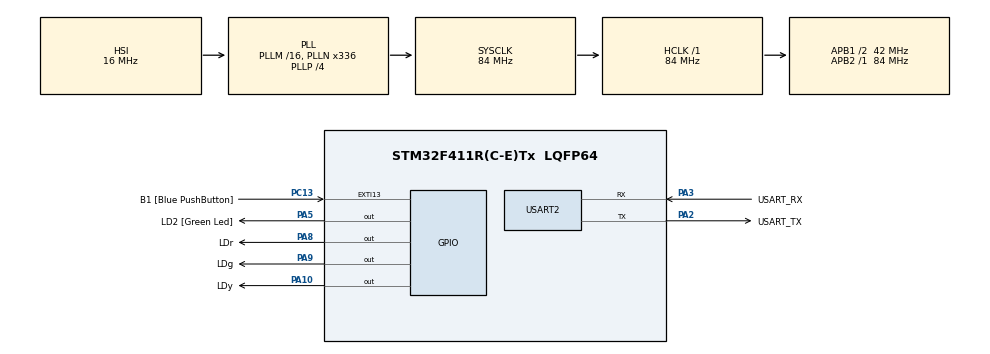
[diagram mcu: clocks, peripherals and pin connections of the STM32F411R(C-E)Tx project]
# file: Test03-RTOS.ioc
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FREERTOS.BinarySemaphores01=myBinarySem01,Dynamic,NULL
FREERTOS.Tasks01=myTask01,-1,128,StartTask01,Default,NULL,Dynamic,NULL,NULL;myTask02,-2,128,StartTask02,Default,NULL,Dynamic,NULL,NULL;myTask03,-3,128,StartTask03,Default,NULL,Dynamic,NULL,NULL
FREERTOS.configUSE_NEWLIB_REENTRANT=1
Mcu.Family=STM32F4
Mcu.Name=STM32F411R(C-E)Tx
Mcu.Package=LQFP64
NVIC.EXTI15_10_IRQn=true\:5\:0\:false\:false\:true\:true\:true\:true\:true
NVIC.PriorityGroup=NVIC_PRIORITYGROUP_4
NVIC.TIM1_TRG_COM_TIM11_IRQn=true\:15\:0\:false\:false\:true\:false\:false\:true\:true
NVIC.TimeBase=TIM1_TRG_COM_TIM11_IRQn
NVIC.TimeBaseIP=TIM11
PA10.GPIO_Label=LDy
PA10.Signal=GPIO_Output
PA13.GPIO_Label=TMS
PA13.Mode=Serial_Wire
PA13.Signal=SYS_JTMS-SWDIO
PA14.GPIO_Label=TCK
PA14.Mode=Serial_Wire
PA14.Signal=SYS_JTCK-SWCLK
PA2.GPIO_Label=USART_TX
PA2.Mode=Asynchronous
PA2.Signal=USART2_TX
PA3.GPIO_Label=USART_RX
PA3.Mode=Asynchronous
PA3.Signal=USART2_RX
PA5.GPIO_Label=LD2 [Green Led]
PA5.Signal=GPIO_Output
PA8.GPIO_Label=LDr
PA8.Signal=GPIO_Output
PA9.GPIO_Label=LDg
PA9.Signal=GPIO_Output
PB3.GPIO_Label=SWO
PB3.Signal=SYS_JTDO-SWO
PC13-ANTI_TAMP.GPIO_Label=B1 [Blue PushButton]
PC13-ANTI_TAMP.GPIO_ModeDefaultEXTI=GPIO_MODE_IT_FALLING
PC13-ANTI_TAMP.Signal=GPXTI13
PC14-OSC32_IN.Mode=LSE-External-Oscillator
PC14-OSC32_IN.Signal=RCC_OSC32_IN
PC15-OSC32_OUT.Mode=LSE-External-Oscillator
PC15-OSC32_OUT.Signal=RCC_OSC32_OUT
PH0\ -\ OSC_IN.Mode=HSE-External-Clock-Source
PH0\ -\ OSC_IN.Signal=RCC_OSC_IN
PH1\ -\ OSC_OUT.Mode=HSE-External-Clock-Source
PH1\ -\ OSC_OUT.Signal=RCC_OSC_OUT
ProjectManager.HeapSize=0x200
ProjectManager.StackSize=0x400
ProjectManager.TargetToolchain=STM32CubeIDE
RCC.48MHZClocksFreq_Value=84000000
RCC.AHBFreq_Value=84000000
RCC.APB1CLKDivider=RCC_HCLK_DIV2
RCC.APB1Freq_Value=42000000
RCC.APB1TimFreq_Value=84000000
RCC.APB2Freq_Value=84000000
RCC.APB2TimFreq_Value=84000000
RCC.CortexFreq_Value=84000000
RCC.FLatency-AdvancedSettings=FLASH_LATENCY_2
RCC.HCLKFreq_Value=84000000
RCC.HSE_VALUE=8000000
RCC.HSI_VALUE=16000000
RCC.PLLN=336
RCC.PLLP=RCC_PLLP_DIV4
RCC.SYSCLKFreq_VALUE=84000000
RCC.SYSCLKSource=RCC_SYSCLKSOURCE_PLLCLK
RCC.VCOOutputFreq_Value=336000000
USART2.VirtualMode=VM_ASYNC
VP_FREERTOS_VS_CMSIS_V1.Mode=CMSIS_V1
VP_SYS_VS_tim11.Mode=TIM11
board=NUCLEO-F411RE

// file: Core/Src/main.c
/* USER CODE BEGIN Header */
/**
  ******************************************************************************
  * @file           : main.c
  * @brief          : Main program body
  ******************************************************************************
  * @attention
  *
  * Copyright (c) 2023 STMicroelectronics.
  * All rights reserved.
  *
  * This software is licensed under terms that can be found in the LICENSE file
  * in the root directory of this software component.
  * If no LICENSE file comes with this software, it is provided AS-IS.
  *
  ******************************************************************************
  */
/* USER CODE END Header */
#include "main.h"
#include "cmsis_os.h"

UART_HandleTypeDef huart2;

osThreadId myTask01Handle;
osThreadId myTask02Handle;
osThreadId myTask03Handle;
osSemaphoreId myBinarySem01Handle;
/* USER CODE BEGIN PV */
#include "../../../myLib/myLib.c"
/* USER CODE END PV */

void SystemClock_Config(void);
static void MX_GPIO_Init(void);
static void MX_USART2_UART_Init(void);
void StartTask01(void const * argument);
void StartTask02(void const * argument);
void StartTask03(void const * argument);

/* USER CODE BEGIN 0 */
void HAL_GPIO_EXTI_Callback(uint16_t GPIO_Pin)
{
	if(GPIO_Pin == B1_Pin) osSemaphoreRelease(myBinarySem01Handle);
}
/* USER CODE END 0 */

int main(void)
{

  /* MCU Configuration--------------------------------------------------------*/

  /* Reset of all peripherals, Initializes the Flash interface and the Systick. */
  HAL_Init();

  /* Configure the system clock */
  SystemClock_Config();

  /* Initialize all configured peripherals */
  MX_GPIO_Init();
  MX_USART2_UART_Init();
  /* USER CODE BEGIN 2 */
  printf("\033[1J\033[1;1HRTOS Test Program Started...\r\n");
  printf("Press B1 button to release Semaphore...\r\n");
  /* USER CODE END 2 */

  /* Create the semaphores(s) */
  /* definition and creation of myBinarySem01 */
  osSemaphoreDef(myBinarySem01);
  myBinarySem01Handle = osSemaphoreCreate(osSemaphore(myBinarySem01), 1);

  /* Create the thread(s) */
  /* definition and creation of myTask01 */
  osThreadDef(myTask01, StartTask01, osPriorityBelowNormal, 0, 128);
  myTask01Handle = osThreadCreate(osThread(myTask01), NULL);

  /* definition and creation of myTask02 */
  osThreadDef(myTask02, StartTask02, osPriorityLow, 0, 128);
  myTask02Handle = osThreadCreate(osThread(myTask02), NULL);

  /* definition and creation of myTask03 */
  osThreadDef(myTask03, StartTask03, osPriorityIdle, 0, 128);
  myTask03Handle = osThreadCreate(osThread(myTask03), NULL);

  /* Start scheduler */
  osKernelStart();

  /* We should never get here as control is now taken by the scheduler */
  /* Infinite loop */
  /* USER CODE BEGIN WHILE */
  int n = 0;
  while (1)
  {
    /* USER CODE END WHILE */

    /* USER CODE BEGIN 3 */
	  printf("in Main procedure......%d\r\n", n++);
	  HAL_GPIO_TogglePin(LDr_GPIO_Port, LDr_Pin);
	  HAL_GPIO_TogglePin(LDg_GPIO_Port, LDg_Pin);
	  HAL_GPIO_TogglePin(LDy_GPIO_Port, LDy_Pin);
	  HAL_Delay(200);
  }
  /* USER CODE END 3 */
}

void SystemClock_Config(void)
{
  RCC_OscInitTypeDef RCC_OscInitStruct = {0};
  RCC_ClkInitTypeDef RCC_ClkInitStruct = {0};

  /** Configure the main internal regulator output voltage
  */
  __HAL_RCC_PWR_CLK_ENABLE();
  __HAL_PWR_VOLTAGESCALING_CONFIG(PWR_REGULATOR_VOLTAGE_SCALE1);

  /** Initializes the RCC Oscillators according to the specified parameters
  * in the RCC_OscInitTypeDef structure.
  */
  RCC_OscInitStruct.OscillatorType = RCC_OSCILLATORTYPE_HSI;
  RCC_OscInitStruct.HSIState = RCC_HSI_ON;
  RCC_OscInitStruct.HSICalibrationValue = RCC_HSICALIBRATION_DEFAULT;
  RCC_OscInitStruct.PLL.PLLState = RCC_PLL_ON;
  RCC_OscInitStruct.PLL.PLLSource = RCC_PLLSOURCE_HSI;
  RCC_OscInitStruct.PLL.PLLM = 16;
  RCC_OscInitStruct.PLL.PLLN = 336;
  RCC_OscInitStruct.PLL.PLLP = RCC_PLLP_DIV4;
  RCC_OscInitStruct.PLL.PLLQ = 4;
  if (HAL_RCC_OscConfig(&RCC_OscInitStruct) != HAL_OK)
  {
    Error_Handler();
  }

  /** Initializes the CPU, AHB and APB buses clocks
  */
  RCC_ClkInitStruct.ClockType = RCC_CLOCKTYPE_HCLK|RCC_CLOCKTYPE_SYSCLK
                              |RCC_CLOCKTYPE_PCLK1|RCC_CLOCKTYPE_PCLK2;
  RCC_ClkInitStruct.SYSCLKSource = RCC_SYSCLKSOURCE_PLLCLK;
  RCC_ClkInitStruct.AHBCLKDivider = RCC_SYSCLK_DIV1;
  RCC_ClkInitStruct.APB1CLKDivider = RCC_HCLK_DIV2;
  RCC_ClkInitStruct.APB2CLKDivider = RCC_HCLK_DIV1;

  if (HAL_RCC_ClockConfig(&RCC_ClkInitStruct, FLASH_LATENCY_2) != HAL_OK)
  {
    Error_Handler();
  }
}

static void MX_USART2_UART_Init(void)
{

  huart2.Instance = USART2;
  huart2.Init.BaudRate = 115200;
  huart2.Init.WordLength = UART_WORDLENGTH_8B;
  huart2.Init.StopBits = UART_STOPBITS_1;
  huart2.Init.Parity = UART_PARITY_NONE;
  huart2.Init.Mode = UART_MODE_TX_RX;
  huart2.Init.HwFlowCtl = UART_HWCONTROL_NONE;
  huart2.Init.OverSampling = UART_OVERSAMPLING_16;
  if (HAL_UART_Init(&huart2) != HAL_OK)
  {
    Error_Handler();
  }

}

static void MX_GPIO_Init(void)
{
  GPIO_InitTypeDef GPIO_InitStruct = {0};

  /* GPIO Ports Clock Enable */
  __HAL_RCC_GPIOC_CLK_ENABLE();
  __HAL_RCC_GPIOH_CLK_ENABLE();
  __HAL_RCC_GPIOA_CLK_ENABLE();
  __HAL_RCC_GPIOB_CLK_ENABLE();

  /*Configure GPIO pin Output Level */
  HAL_GPIO_WritePin(GPIOA, LD2_Pin|LDr_Pin|LDg_Pin|LDy_Pin, GPIO_PIN_RESET);

  /*Configure GPIO pin : B1_Pin */
  GPIO_InitStruct.Pin = B1_Pin;
  GPIO_InitStruct.Mode = GPIO_MODE_IT_FALLING;
  GPIO_InitStruct.Pull = GPIO_NOPULL;
  HAL_GPIO_Init(B1_GPIO_Port, &GPIO_InitStruct);

  /*Configure GPIO pins : LD2_Pin LDr_Pin LDg_Pin LDy_Pin */
  GPIO_InitStruct.Pin = LD2_Pin|LDr_Pin|LDg_Pin|LDy_Pin;
  GPIO_InitStruct.Mode = GPIO_MODE_OUTPUT_PP;
  GPIO_InitStruct.Pull = GPIO_NOPULL;
  GPIO_InitStruct.Speed = GPIO_SPEED_FREQ_LOW;
  HAL_GPIO_Init(GPIOA, &GPIO_InitStruct);

  /* EXTI interrupt init*/
  HAL_NVIC_SetPriority(EXTI15_10_IRQn, 5, 0);
  HAL_NVIC_EnableIRQ(EXTI15_10_IRQn);

}

void StartTask01(void const * argument)
{
  /* USER CODE BEGIN 5 */
  /* Infinite loop */
	int n = 0;
  for(;;)
  {
	  if(osSemaphoreWait(myBinarySem01Handle, 10) == osOK)
	  {
	  printf("\033[3;1Hin Default Task.......%d\r\n", n++);
	  HAL_GPIO_TogglePin(LDr_GPIO_Port, LDr_Pin);
	  osSemaphoreRelease(myBinarySem01Handle);
	  }
    osDelay(1);
  }
  /* USER CODE END 5 */
}

void StartTask02(void const * argument)
{
  /* USER CODE BEGIN StartTask02 */
  /* Infinite loop */
	int n = 0;
  for(;;)
  {
	  if(osSemaphoreWait(myBinarySem01Handle, 10) == osOK)
	  {
	  printf("\033[5;1;Hin Second Task.......%d\r\n", n++);
	  HAL_GPIO_TogglePin(LDg_GPIO_Port, LDg_Pin);
	  osSemaphoreRelease(myBinarySem01Handle);
	  }
    osDelay(1);
  }
  /* USER CODE END StartTask02 */
}

void StartTask03(void const * argument)
{
  /* USER CODE BEGIN StartTask03 */
  /* Infinite loop */
	int n = 0;
  for(;;)
  {
	  if(osSemaphoreWait(myBinarySem01Handle, 10) == osOK)
	  {
	  printf("\033[7;1Hin third Task.......%d\r\n", n++);
	  HAL_GPIO_TogglePin(LDy_GPIO_Port, LDy_Pin);
	  osSemaphoreRelease(myBinarySem01Handle);
	  }
    osDelay(1);
  }
  /* USER CODE END StartTask03 */
}

void HAL_TIM_PeriodElapsedCallback(TIM_HandleTypeDef *htim)
{
  if (htim->Instance == TIM11) {
    HAL_IncTick();
  }
}

void Error_Handler(void)
{
  __disable_irq();
  while (1)
  {
  }
}
